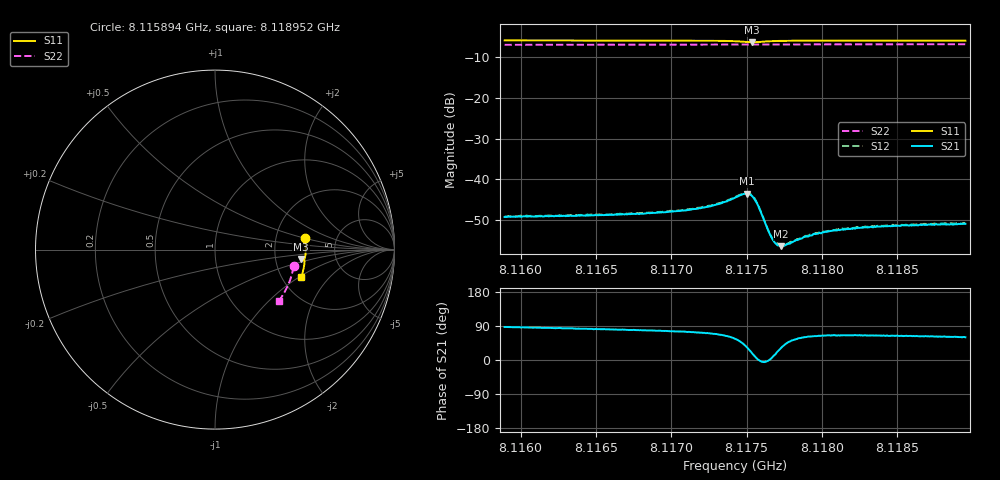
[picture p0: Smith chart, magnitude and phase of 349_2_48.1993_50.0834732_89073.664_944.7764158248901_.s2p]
#  HZ  S  RI  R  50.00
! Rohde & Schwarz Vector Network Analyzer
! Rohde-Schwarz,ZNB20-2Port,1311601062101988,3.16
! Created: UTC 3/20/2024, 11:51:43 AM
! freq[Hz]  re:S11  im:S11  re:S21  im:S21  re:S12  im:S12  re:S22  im:S22
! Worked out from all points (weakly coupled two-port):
!   401 points, 8.115894 GHz to 8.118952 GHz, reference 50 ohm
!   highest |S21| = -43.47 dB at 8.117499 GHz (marker M1); lowest = -56.4 dB at 8.117729 GHz (marker M2)
!   lowest |S11| = -6.3 dB at 8.117538 GHz (marker M3), VSWR 2.86, Z = 140 - j18.8 ohm
!   |S11| at or under -10 dB: nowhere
!   |S22| runs from -7.0 to -6.8 dB; largest |S21 - S12| = 0.00019
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8.1158942e9  0.5032 0.066  0.000172 0.00346  0.000236 0.00352  0.4383 -0.094
8.1164063e9  0.5061 0.0276  0.000476 0.00361  0.000511 0.00361  0.431 -0.1288
8.1169184e9  0.5057 -0.0116  0.000863 0.00383  0.000941 0.00388  0.4206 -0.1629
8.1171019e9  0.5045 -0.0263  0.00114 0.00402  0.0012 0.0041  0.4162 -0.1749
8.1172318e9  0.5026 -0.0375  0.00151 0.00434  0.00156 0.00442  0.4129 -0.1834
8.1173388e9  0.4998 -0.0476  0.00212 0.0047  0.00219 0.00476  0.4099 -0.1904
8.1174229e9  0.4939 -0.0558  0.00333 0.00496  0.00343 0.00501  0.4074 -0.1958
8.1174993e9  0.4828 -0.0577  0.00551 0.00382  0.00567 0.00382  0.4048 -0.2005
8.1175223e9  0.4797 -0.0545  0.00594 0.0027  0.00613 0.00272  0.4041 -0.2017
8.1175376e9  0.479 -0.0516  0.00596 0.00182  0.00609 0.00183  0.4038 -0.2024
8.1175528e9  0.48 -0.0488  0.00562 0.000989  0.0058 0.000987  0.4033 -0.2032
8.1175758e9  0.4831 -0.0458  0.00481 9.18e-05  0.00486 3.55e-05  0.4029 -0.2046
8.1176446e9  0.4936 -0.0484  0.00233 -5.72e-05  0.00237 -8.73e-05  0.4014 -0.2088
8.1176751e9  0.496 -0.0517  0.00179 0.000275  0.0018 0.000248  0.4007 -0.2109
8.1176981e9  0.497 -0.0544  0.00152 0.000519  0.00157 0.000538  0.4001 -0.2123
8.1177286e9  0.4981 -0.0578  0.00129 0.000798  0.00134 0.000803  0.3992 -0.2144
8.1177592e9  0.4987 -0.0611  0.00117 0.00107  0.00118 0.00103  0.3982 -0.2164
8.1178739e9  0.4988 -0.072  0.00099 0.00166  0.00101 0.00168  0.3946 -0.2237
8.117935e9  0.4983 -0.0774  0.000945 0.00184  0.000979 0.00189  0.3925 -0.2275
8.1181261e9  0.4962 -0.0928  0.00101 0.0022  0.00108 0.00224  0.3863 -0.2392
8.1184472e9  0.4909 -0.1173  0.00119 0.0024  0.00119 0.00246  0.3747 -0.2587
8.1189516e9  0.4804 -0.1537  0.00142 0.00247  0.00149 0.00252  0.3546 -0.2879
